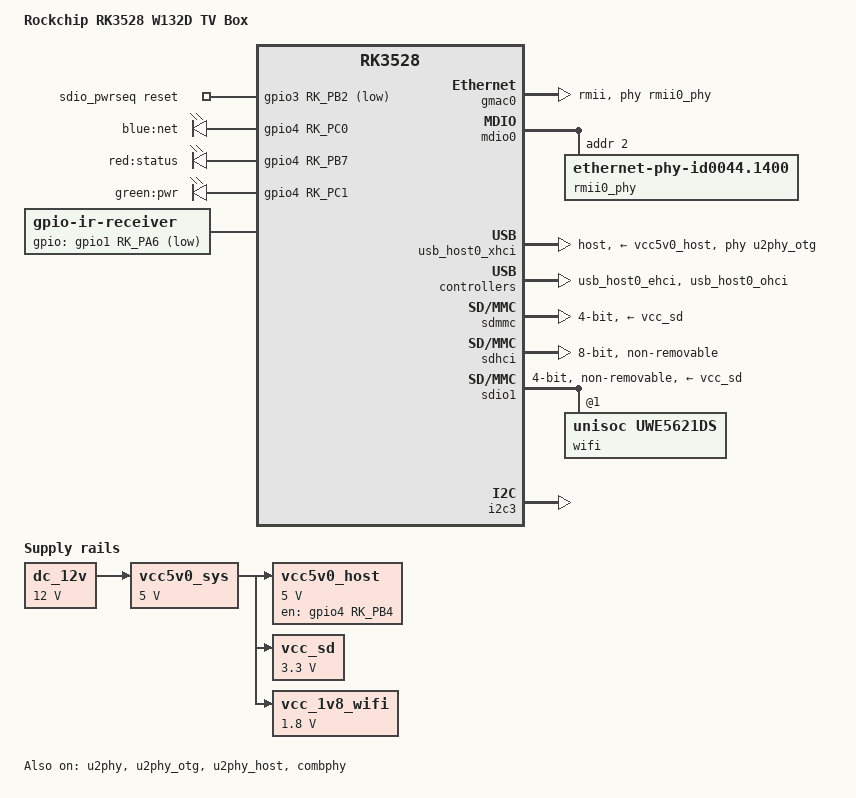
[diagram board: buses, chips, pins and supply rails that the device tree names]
// SPDX-License-Identifier: (GPL-2.0+ OR MIT)
/*
 * Copyright (c) 2022 Rockchip Electronics Co., Ltd.
 * Copyright (c) 2024 Adapted for W132D TV Box
 *
 * W132D TV Box Device Tree
 * SoC: Rockchip RK3528 (DEMO4 DDR4 V11 reference design)
 * Wireless: UWE5621DS (Unisoc) on SDIO2
 * Ethernet: GMAC0 RMII with RK630 internal PHY
 * USB: 1x USB3.0 (DWC3 + combphy) + 3x USB2.0 (EHCI/OHCI + u2phy_host)
 *
 * GPIOs (confirmed from W132D Android DTB pinctrl/regulator):
 *   USB VBUS: GPIO4_PB4  (pinctrl bank 4 pin 0x0c + phandle 0x7e=GPIO4)
 *   WiFi EN:  GPIO3_PB2  (pinctrl bank 3 pin 0x0a)
 *   WiFi WK:  GPIO3_PB3  (pinctrl bank 3 pin 0x0b)
 *   WiFi RST: GPIO3_PB4  (pinctrl bank 3 pin 0x0c)
 *   Blue LED: GPIO4_PC0  (phandle 0x7e=GPIO4, pin 0x10)
 *   Red LED:  GPIO4_PB7  (phandle 0x7e=GPIO4, pin 0x0f)
 *   Green LED:GPIO4_PC1  (phandle 0x7e=GPIO4, pin 0x11)
 *   IR RX:    GPIO1_PA6
 *
 * Note: ophub rk3528.dtsi labels the mmc@ffc20000 controller as sdio1.
 *       The Android DTB calls it sdio1 (second SDIO). We use sdio1 here.
 *       HDMI nodes removed: labels hdmi/hdmi_in_vop/route_hdmi not in rk3528.dtsi.
 */

/dts-v1/;

#include <dt-bindings/input/input.h>
#include <dt-bindings/gpio/gpio.h>
#include <dt-bindings/pinctrl/rockchip.h>
#include "rk3528.dtsi"

/ {
    model = "Rockchip RK3528 W132D TV Box";
    compatible = "rockchip,rk3528-w132d", "rockchip,rk3528";

    aliases {
        ethernet0 = &gmac0;
        mmc0 = &sdmmc;
        mmc1 = &sdio1;
        mmc2 = &sdhci;
    };

    chosen {
        stdout-path = "serial0:1500000n8";
    };

    /* --- Power Tree --- */
    dc_12v: dc-12v {
        compatible = "regulator-fixed";
        regulator-name = "dc_12v";
        regulator-always-on;
        regulator-boot-on;
        regulator-min-microvolt = <12000000>;
        regulator-max-microvolt = <12000000>;
    };

    vcc5v0_sys: vcc5v0-sys {
        compatible = "regulator-fixed";
        regulator-name = "vcc5v0_sys";
        regulator-always-on;
        regulator-boot-on;
        regulator-min-microvolt = <5000000>;
        regulator-max-microvolt = <5000000>;
        vin-supply = <&dc_12v>;
    };

    /* USB VBUS: GPIO4_PB4 */
    vcc5v0_host: vcc5v0-host {
        compatible = "regulator-fixed";
        regulator-name = "vcc5v0_host";
        regulator-boot-on;
        regulator-always-on;
        regulator-min-microvolt = <5000000>;
        regulator-max-microvolt = <5000000>;
        enable-active-high;
        gpio = <&gpio4 RK_PB4 GPIO_ACTIVE_HIGH>;
        vin-supply = <&vcc5v0_sys>;
        pinctrl-names = "default";
        pinctrl-0 = <&vcc5v0_host_en>;
    };

    /* SD card and WiFi shared power domain (3.3V) */
    vcc_sd: vcc-sd {
        compatible = "regulator-fixed";
        regulator-name = "vcc_sd";
        regulator-min-microvolt = <3300000>;
        regulator-max-microvolt = <3300000>;
        regulator-always-on;
        regulator-boot-on;
        vin-supply = <&vcc5v0_sys>;
        startup-delay-us = <100000>;
        off-on-delay-us = <20000>;
    };

    /* WiFi IO domain (1.8V) */
    vcc_1v8_wifi: vcc-1v8-wifi {
        compatible = "regulator-fixed";
        regulator-name = "vcc_1v8_wifi";
        regulator-min-microvolt = <1800000>;
        regulator-max-microvolt = <1800000>;
        regulator-always-on;
        vin-supply = <&vcc5v0_sys>;
    };

    /* WiFi SDIO Power Sequence */
    sdio_pwrseq: sdio-pwrseq {
        compatible = "mmc-pwrseq-simple";
        pinctrl-names = "default";
        pinctrl-0 = <&wifi_enable_h &wifi_reset>;
        reset-gpios = <&gpio3 RK_PB2 GPIO_ACTIVE_LOW>;
        post-power-on-delay-ms = <200>;
        status = "okay";
    };

    /* GPIO LEDs (all on GPIO4 bank) */
    gpio-leds {
        compatible = "gpio-leds";

        led-blue {
            gpios = <&gpio4 RK_PC0 GPIO_ACTIVE_HIGH>;
            label = "blue:net";
            linux,default-trigger = "netdev";
            default-state = "off";
        };

        led-red {
            gpios = <&gpio4 RK_PB7 GPIO_ACTIVE_HIGH>;
            label = "red:status";
            linux,default-trigger = "heartbeat";
            default-state = "off";
        };

        led-green {
            gpios = <&gpio4 RK_PC1 GPIO_ACTIVE_HIGH>;
            label = "green:pwr";
            linux,default-trigger = "default-on";
            default-state = "on";
            retain-state-suspended;
            retain-state-shutdown;
        };
    };

    /* IR Receiver */
    ir-receiver {
        compatible = "gpio-ir-receiver";
        gpios = <&gpio1 RK_PA6 GPIO_ACTIVE_LOW>;
        linux,rc-map-name = "rc-rc6-mce";
        status = "okay";
    };
};

/* ========= Ethernet: GMAC0 RMII with RK630 internal PHY ========= */
&gmac0 {
    phy-mode = "rmii";
    clock_in_out = "input";
    phy-handle = <&rmii0_phy>;
    status = "okay";
};

&mdio0 {
    status = "okay";

    rmii0_phy: ethernet-phy@2 {
        compatible = "ethernet-phy-id0044.1400", "ethernet-phy-ieee802.3-c22";
        reg = <0x2>;
        clocks = <&cru CLK_MACPHY>;
        resets = <&cru SRST_MACPHY>;
        phy-is-integrated;
    };
};

/* ========= USB: 1x USB3.0 (DWC3) + 3x USB2.0 (EHCI/OHCI) ========= */
&u2phy {
    status = "okay";
};

&u2phy_otg {
    phy-supply = <&vcc5v0_host>;
    status = "okay";
};

&u2phy_host {
    phy-supply = <&vcc5v0_host>;
    status = "okay";
};

&combphy {
    rockchip,enable-ssc;
    status = "okay";
};

&usb_host0_xhci {
    dr_mode = "host";
    phys = <&u2phy_otg>, <&combphy PHY_TYPE_USB3>;
    phy-names = "usb2-phy", "usb3-phy";
    vbus-supply = <&vcc5v0_host>;
    snps,dis_enblslpm_quirk;
    snps,dis-u1u2-quirk;
    snps,dis-u2-freeclk-exists-quirk;
    snps,dis-del-phy-power-chg-quirk;
    snps,dis-tx-ipgap-linecheck-quirk;
    snps,xhci-trb-ent-quirk;
    snps,dis_u2_susphy_quirk;
    snps,dis_u3_susphy_quirk;
    status = "okay";
};

&usb_host0_ehci {
    status = "okay";
};

&usb_host0_ohci {
    status = "okay";
};

/* ========= SDMMC (MicroSD card) ========= */
&sdmmc {
    bus-width = <4>;
    vmmc-supply = <&vcc_sd>;
    vqmmc-supply = <&vcc_sd>;
    no-1-8-v;
    cap-sd-highspeed;
    disable-wp;
    status = "okay";
};

/* ========= SDHCI (eMMC) ========= */
&sdhci {
    bus-width = <8>;
    non-removable;
    status = "okay";
};

/* ========= SDIO1 (UWE5621DS WiFi/BT) @ ffc20000 ========= */
/* ophub rk3528.dtsi labels mmc@ffc20000 as sdio1 (Android DTB calls it sdio1 too) */
&sdio1 {
    #address-cells = <1>;
    #size-cells = <0>;
    bus-width = <4>;
    cap-sd-highspeed;
    cap-sdio-irq;
    keep-power-in-suspend;
    non-removable;
    no-sd;
    no-mmc;
    max-frequency = <150000000>;
    mmc-pwrseq = <&sdio_pwrseq>;
    vmmc-supply = <&vcc_sd>;
    vqmmc-supply = <&vcc_1v8_wifi>;
    rockchip,use-v2-tuning;
    sd-uhs-sdr104;
    status = "okay";

    wifi@1 {
        compatible = "unisoc,uwe5621ds";
        reg = <1>;
    };
};

/* ========= I2C3 ========= */
&i2c3 {
    status = "okay";
};

/* ========= Pinctrl Overrides ========= */
&pinctrl {
    /* USB VBUS enable: GPIO4_PB4 */
    usb {
        vcc5v0_host_en: vcc5v0-host-en {
            rockchip,pins = <4 RK_PB4 RK_FUNC_GPIO &pcfg_pull_up>;
        };
    };

    /* WiFi SDIO power sequence (GPIO3 bank) */
    sdio-pwrseq {
        wifi_enable_h: wifi-enable-h {
            rockchip,pins = <3 RK_PB2 RK_FUNC_GPIO &pcfg_pull_up>;
        };
    };

    wireless-wlan {
        wifi_host_wake_irq: wifi-host-wake-irq {
            rockchip,pins = <3 RK_PB3 RK_FUNC_GPIO &pcfg_pull_down>;
        };

        wifi_reset: wifi-reset {
            rockchip,pins = <3 RK_PB4 RK_FUNC_GPIO &pcfg_output_low>;
        };
    };

    wireless-bluetooth {
        uart2m0_gpios: uart2m0-gpios {
            rockchip,pins = <3 RK_PA2 RK_FUNC_GPIO &pcfg_pull_up>;
        };
    };
};
